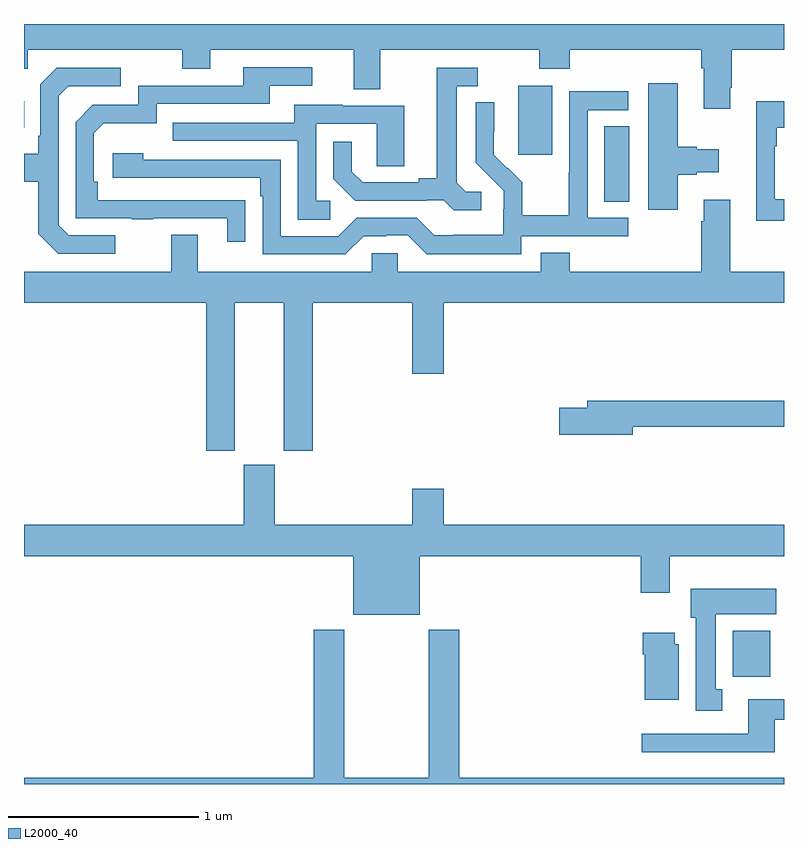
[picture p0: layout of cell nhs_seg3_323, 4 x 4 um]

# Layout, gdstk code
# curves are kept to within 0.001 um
import gdstk
lib = gdstk.Library(unit=1e-6, precision=1e-09)
def R(c, l, rs):  # rectangles x0, y0, x1, y1
    for r in rs: c.add(gdstk.rectangle(r[:2], r[2:], *l))
def P(c, l, *ps):  # polygons
    for p in ps: c.add(gdstk.Polygon(p, *l))
L2000_40 = (2000, 40)

nhs_seg3_323 = lib.new_cell('nhs_seg3_323')
R(nhs_seg3_323, L2000_40, [(130.73,682.964,130.927,683.206), (130.055,685.465,130.186,685.862), (129.602,685.713,129.781,686.074), (127,685.853,127.001,685.993)])
P(nhs_seg3_323, L2000_40, [(130.717,686.065),(130.725,686.065),(130.725,686.264),(131,686.264),(131,686.4),(127,686.4),(127,686.165),(127.02,686.165),(127.02,686.264),(127.834,686.264),(127.834,686.165),(127.981,686.165),(127.981,686.264),(128.735,686.264),(128.735,686.056),(128.875,686.056),(128.875,686.264),(129.712,686.264),(129.712,686.165),(129.872,686.165),(129.872,686.264),(130.565,686.264),(130.565,686.168),(130.577,686.168),(130.577,685.953),(130.717,685.953)],
  [(128.165,685.472),(127.388,685.473),(127.388,685.57),(127.368,685.57),(127.368,685.824),(127.421,685.877),(127.698,685.877),(127.698,685.98),(128.293,685.98),(128.293,686.076),(128.518,686.076),(128.518,686.172),(128.153,686.172),(128.153,686.076),(127.602,686.076),(127.602,685.974),(127.362,685.974),(127.272,685.884),(127.272,685.377),(127.567,685.377),(127.567,685.372),(127.679,685.372),(127.679,685.377),(128.069,685.377),(128.069,685.254),(128.165,685.254)],
  [(129.406,685.518),(129.324,685.518),(129.277,685.565),(129.277,686.073),(129.388,686.073),(129.388,686.169),(129.173,686.169),(129.173,685.589),(129.077,685.589),(129.077,685.566),(128.782,685.566),(128.725,685.623),(128.725,685.78),(128.628,685.78),(128.628,685.586),(128.744,685.47),(129.116,685.47),(129.116,685.473),(129.21,685.473),(129.262,685.421),(129.406,685.421)],
  [(127.48,685.287),(127.236,685.287),(127.182,685.341),(127.182,686.022),(127.233,686.073),(127.51,686.073),(127.51,686.169),(127.173,686.169),(127.086,686.082),(127.086,685.813),(127.074,685.813),(127.074,685.717),(127,685.717),(127,685.57),(127.074,685.57),(127.074,685.297),(127.179,685.191),(127.48,685.191)],
  [(130.441,685.607),(130.541,685.607),(130.541,685.619),(130.657,685.619),(130.657,685.741),(130.541,685.741),(130.541,685.754),(130.441,685.754),(130.441,686.089),(130.286,686.089),(130.286,685.422),(130.441,685.422)],
  [(129.618,685.284),(130.18,685.284),(130.18,685.38),(129.966,685.38),(129.966,685.947),(130.18,685.947),(130.18,686.046),(129.87,686.046),(129.87,685.616),(129.868,685.616),(129.868,685.393),(129.623,685.393),(129.623,685.567),(129.546,685.644),(129.543,685.641),(129.473,685.712),(129.474,685.988),(129.378,685.988),(129.378,685.67),(129.524,685.522),(129.524,685.425),(129.522,685.425),(129.522,685.291),(129.259,685.291),(129.259,685.287),(129.159,685.287),(129.066,685.38),(128.751,685.38),(128.655,685.284),(128.352,685.284),(128.352,685.686),(127.628,685.686),(127.628,685.72),(127.467,685.72),(127.467,685.59),(128.243,685.59),(128.243,685.493),(128.256,685.493),(128.256,685.188),(128.691,685.188),(128.787,685.284),(128.906,685.284),(128.906,685.287),(129.021,685.287),(129.121,685.187),(129.618,685.187)],
  [(131,685.478),(130.95,685.478),(130.95,685.757),(130.963,685.757),(130.963,685.853),(131,685.853),(131,685.993),(130.853,685.993),(130.853,685.365),(131,685.365)],
  [(128.611,685.47),(128.538,685.47),(128.538,685.875),(128.856,685.875),(128.856,685.651),(129.001,685.651),(129.001,685.971),(128.677,685.971),(128.677,685.975),(128.423,685.975),(128.423,685.881),(127.783,685.881),(127.783,685.785),(128.442,685.785),(128.442,685.369),(128.611,685.369)],
  [(128.11,684.932),(128.366,684.932),(128.366,684.153),(128.519,684.153),(128.519,684.932),(129.044,684.932),(129.044,684.558),(129.208,684.558),(129.208,684.932),(131,684.932),(131,685.096),(130.717,685.096),(130.717,685.474),(130.577,685.474),(130.577,685.361),(130.565,685.361),(130.565,685.096),(129.872,685.096),(129.872,685.195),(129.719,685.195),(129.719,685.096),(128.967,685.096),(128.967,685.194),(128.829,685.194),(128.829,685.096),(127.915,685.096),(127.915,685.291),(127.775,685.291),(127.775,685.096),(127,685.096),(127,684.932),(127.958,684.932),(127.958,684.153),(128.11,684.153)],
  [(130.204,684.28),(131,684.28),(131,684.416),(129.965,684.416),(129.965,684.38),(129.816,684.38),(129.816,684.238),(130.204,684.238)],
  [(129.082,683.6),(130.247,683.6),(130.247,683.406),(130.399,683.406),(130.399,683.6),(131,683.6),(131,683.764),(129.208,683.764),(129.208,683.953),(129.044,683.953),(129.044,683.764),(128.32,683.764),(128.32,684.081),(128.156,684.081),(128.156,683.764),(127,683.764),(127,683.6),(128.732,683.6),(128.732,683.291),(129.082,683.291)],
  [(130.675,682.898),(130.642,682.898),(130.642,683.294),(130.96,683.294),(130.96,683.428),(130.508,683.428),(130.508,683.274),(130.535,683.274),(130.535,682.785),(130.675,682.785)],
  [(131,682.432),(129.29,682.432),(129.29,683.212),(129.13,683.212),(129.13,682.432),(128.685,682.432),(128.685,683.212),(128.525,683.212),(128.525,682.432),(127,682.432),(127,682.4),(131,682.4)],
  [(130.447,683.136),(130.426,683.136),(130.426,683.197),(130.256,683.197),(130.256,683.084),(130.268,683.084),(130.268,682.844),(130.447,682.844)],
  [(130.951,682.737),(131,682.737),(131,682.846),(130.811,682.846),(130.811,682.665),(130.251,682.665),(130.251,682.568),(130.951,682.568)])

lib.write_gds('nhs_seg3_323.gds')
